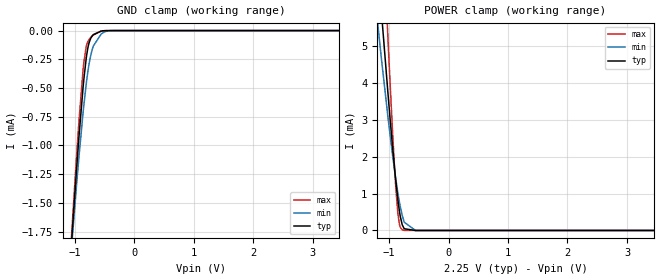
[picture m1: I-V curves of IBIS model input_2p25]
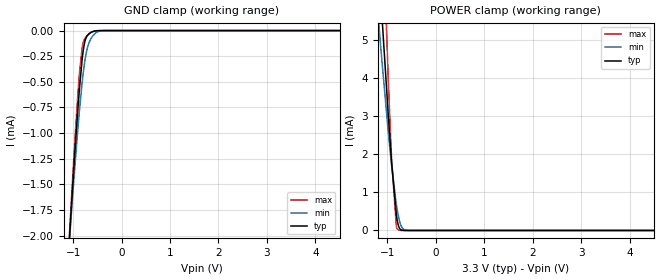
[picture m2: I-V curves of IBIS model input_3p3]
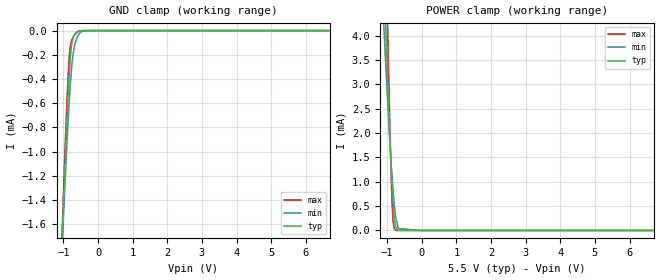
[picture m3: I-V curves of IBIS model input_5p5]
| Texas Instruments Incorporated
| SN74HCS86 Quadruple 2-Input XOR Gates with
| Schmitt-trigger Inputs
[IBIS Ver]   4.1
[File name]   sn74hcs86.ibs
[File Rev]   2.0
[Date]   04/24/2019
[Source]
| Texas Instruments Incorporated.
| Analog-eLab Design Center, HPA
| 12500 TI Blvd
| Dallas, TX -75243
[Notes]   Revision History:
| Rev 2.0: 04/24/2019
| - input_3p3 and output_3p3 models added
| Rev 1.0: 03/29/2019
| - Initial version of the model
| - Model generated from simulations in SPECTRE
| - C_comp although listed in numerical order of value are
|   obtained from varying PVT conditions. For PVT conditions for
|   each specific value refer the buffer description under
|   respective [Model]. IBIS model user is responsible for using
|   appropriate C_comp to simulate for Signal Integrity.
| - Warnings regarding combined Non-monotonicity of various models have been
|   reviewd and considered minor and can be ignored.
| - Model names with a trailing _2p25 contain the model for 2.25V operation.
|   Model names with a trailing _3p3 contain the model for 3.3V operation.
|   Model names with a trailing _5p5 contain the model for 5.5V operation.
[Disclaimer]
| This model is designed as an aid for customers of Texas Instruments.
| TI and its licensors and suppliers make no warranties, either expressed
| or implied, with respect to this  model, including the warranties of
| merchantability or fitness for a particular purpose. The model is
| provided solely on an "as is" basis. The entire risk as to its quality
| and performance is with the customer.
| This model is subject to change without notice. Texas Instruments
| Incorporated is not responsible for updating this model.
[Copyright]
 (C) Copyright 2019 Texas Instruments Incorporated.All rights reserved.
|  Component SN74HCS86BQA 14-Pin WQFN - BQA package
|  Part # SN74HCS86BQAR
[Component]   SN74HCS86BQA
[Manufacturer]   TI
[Package]   |14 SOIC - BQA package
|   typ   min   max
R_pkg   0.05   0.04   0.06
L_pkg   1.0nH   0.8nH   1.2nH
C_pkg   0.2pF   0.16pF   0.24pF
[Pin]   signal_name   model_name   R_pin   L_pin   C_pin
1   1A   input   NA   NA   NA
2   1B   input   NA   NA   NA
3   1Y   output   NA   NA   NA
4   2A   input   NA   NA   NA
5   2B   input   NA   NA   NA
6   2Y   output   NA   NA   NA
7   GND   gnd   NA   NA   NA
8   3Y   output   NA   NA   NA
9   3A   input   NA   NA   NA
10   3B   input   NA   NA   NA
11   4Y   output   NA   NA   NA
12   4A   input   NA   NA   NA
13   4B   input   NA   NA   NA
14   VCC   power   NA   NA   NA
|  Component SN74HCS86D 14-Pin SOIC - D package
|  Part # SN74HCS86DR
[Component]   SN74HCS86D
[Manufacturer]   TI
[Package]   |14 SOIC - D package
|   typ   min   max
R_pkg   0.05   0.04   0.06
L_pkg   1.0nH   0.8nH   1.2nH
C_pkg   0.2pF   0.16pF   0.24pF
[Pin]   signal_name   model_name   R_pin   L_pin   C_pin
1   1A   input   NA   NA   NA
2   1B   input   NA   NA   NA
3   1Y   output   NA   NA   NA
4   2A   input   NA   NA   NA
5   2B   input   NA   NA   NA
6   2Y   output   NA   NA   NA
7   GND   gnd   NA   NA   NA
8   3Y   output   NA   NA   NA
9   3A   input   NA   NA   NA
10   3B   input   NA   NA   NA
11   4Y   output   NA   NA   NA
12   4A   input   NA   NA   NA
13   4B   input   NA   NA   NA
14   VCC   power   NA   NA   NA
|  Component SN74HCS86PW 14-Pin TSSOP - PW package
|  Part # SN74HCS86PWR
[Component]   SN74HCS86PW
[Manufacturer]   TI
[Package]   |14 TSSOP - PW package
|   typ   min   max
R_pkg   0.05   0.04   0.06
L_pkg   1.0nH   0.8nH   1.2nH
C_pkg   0.2pF   0.16pF   0.24pF
[Pin]   signal_name   model_name   R_pin   L_pin   C_pin
1   1A   input   NA   NA   NA
2   1B   input   NA   NA   NA
3   1Y   output   NA   NA   NA
4   2A   input   NA   NA   NA
5   2B   input   NA   NA   NA
6   2Y   output   NA   NA   NA
7   GND   gnd   NA   NA   NA
8   3Y   output   NA   NA   NA
9   3A   input   NA   NA   NA
10   3B   input   NA   NA   NA
11   4Y   output   NA   NA   NA
12   4A   input   NA   NA   NA
13   4B   input   NA   NA   NA
14   VCC   power   NA   NA   NA
|   Model Selectors
[Model Selector] input
input_2p25   2.25V   digital input
input_3p3   3.3V   digital input
input_5p5   5.5V   digital input
[Model Selector] output
output_2p25   2.25V   digital output
output_3p3   3.3V   digital output
output_5p5   5.5V   digital output
| Models and submodels in the file (6): input_2p25 (Input), input_3p3 (Input), input_5p5 (Input), output_2p25 (Output), output_3p3 (Output), output_5p5 (Output)
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|   input_2p25 Model
[Model]   input_2p25
Model_type   Input
Vinl = 0.835
Vinh = 1.1
|   typ   min   max
C_comp   0.119pF   0.105pF   0.126pF
| Where Nom  PVT is Nominal Process, 2.25V, 27C
|   Fast PVT is Strong Process,  2.50V, -55C
|   Slow PVT is Weak Process,   2.0V, 150C
[Voltage Range]   2.25   2   2.5
|Junction Temperature
[Temperature Range]   27   150   -55
[Power Clamp Reference]   2.25   2   2.5
[GND Clamp Reference]   0   0   0
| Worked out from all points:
|   GND clamp passes 1 mA (typ) near -0.94 V on its own axis
|   POWER clamp passes 1 mA (typ) near -0.86 V on its own axis
[GND Clamp]
|   Voltage   I(typ)   I(min)   I(max)
-2.25V    -11.71mA   -10.48mA   -12.74mA
-1.109V   -2.268mA   -2.257mA   -2.25mA
-967.5mV  -1.202mA   -1.339mA   -1.088mA
-927mV    -920.7uA   -1.094mA   -783.1uA
-846mV    -425uA     -650.3uA   -278.1uA
-805.5mV  -239.4uA   -463.5uA   -138.6uA
-771.8mV  -134.7uA   -334.5uA   -88.4uA
-731.2mV  -67.91uA   -218.2uA   -59.95uA
-684mV    -34.91uA   -132.4uA   -37.48uA
-555.7mV  -4.734uA   -31.52uA   -3.97uA
-393.7mV  -80nA      -1.094uA   -16.84nA
4.5V      0A         0A         0A
[POWER Clamp]
|   Voltage   I(typ)   I(min)   I(max)
-2.25V    34.95mA    23.58mA    64.72mA
-1.386V   11.37mA    8.623mA    18.57mA
-1.143V   6.234mA    4.883mA    9.607mA
-1.123V   5.818mA    4.582mA    8.877mA
-1.015V   3.652mA    3.027mA    5.08mA
-940.5mV  2.258mA    2.037mA    2.657mA
-893.2mV  1.451mA    1.465mA    1.318mA
-852.8mV  850.3uA    1.028mA    472.1uA
-819mV    453.9uA    713.6uA    125uA
-778.5mV  153.7uA    408.4uA    17.82uA
-555.7mV  28.75nA    1.244uA    0A
4.5V      0A         0A         0A
|   input_3p3 Model
[Model]   input_3p3
Model_type   Input
Vinl = 1.6
Vinh = 2.3
|   typ   min   max
C_comp   0.1147pF   0.0972pF   0.1185pF
| Where Nom  PVT is Nominal Process, 3.3V, 27C
|   Fast PVT is Strong Process,  3.6V, -55C
|   Slow PVT is Weak Process,   3.0V, 150C
[Voltage Range]   3.3   3   3.6
|Junction Temperature
[Temperature Range]   27   150   -55
[Power Clamp Reference]   3.3   3   3.6
[GND Clamp Reference]   0   0   0
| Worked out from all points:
|   GND clamp passes 1 mA (typ) near -0.94 V on its own axis
|   POWER clamp passes 1 mA (typ) near -0.86 V on its own axis
[GND Clamp]
|   Voltage   I(typ)   I(min)   I(max)
-3.3V     -20.63mA   -18.3mA    -22.65mA
-1.132V   -2.445mA   -2.409mA   -2.444mA
-1.043V   -1.757mA   -1.817mA   -1.692mA
-963.6mV  -1.175mA   -1.315mA   -1.058mA
-894.3mV  -706.6uA   -906.4uA   -555.8uA
-874.5mV  -585.2uA   -797.8uA   -431.1uA
-815.1mV  -278uA     -505uA     -162.5uA
-775.5mV  -143.9uA   -347.5uA   -92.16uA
-726mV    -62.63uA   -206.2uA   -57.12uA
-607.2mV  -11.96uA   -59.92uA   -12.28uA
-379.5mV  -51.1nA    -764.7nA   -8.033nA
6.6V      0A         0A         0A
[POWER Clamp]
|   Voltage   I(typ)   I(min)   I(max)
-3.3V     78.77mA    53.53mA    141.7mA
-1.221V   7.859mA    6.061mA    12.45mA
-1.122V   5.802mA    4.57mA     8.85mA
-1.112V   5.6mA      4.424mA    8.495mA
-983.4mV  3.05mA     2.598mA    4.028mA
-914.1mV  1.796mA    1.71mA     1.877mA
-815.1mV  416uA      680.5uA    104.6uA
-765.6mV  100.2uA    329.9uA    9.392uA
-726mV    22.82uA    150.2uA    1.327uA
-686.4mV  4.733uA    56.24uA    192.9nA
-557.7mV  30.26nA    1.317uA    0A
6.6V      0A         0A         0A
|   input_5p5 Model
[Model]   input_5p5
Model_type   Input
Vinl = 2.45
Vinh = 3.0
|   typ   min   max
C_comp   0.107pF   0.087pF   0.107pF
| Where Nom  PVT is Nominal Process, 5.5V, 27C
|   Fast PVT is Strong Process,  6.0V, -55C
|   Slow PVT is Weak Process,   5.0V, 150C
[Voltage Range]   5.5   5   6
|Junction Temperature
[Temperature Range]   27   150   -55
[Power Clamp Reference]   5.5   5   6
[GND Clamp Reference]   0   0   0
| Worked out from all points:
|   GND clamp passes 1 mA (typ) near -0.94 V on its own axis
|   POWER clamp passes 1 mA (typ) near -0.86 V on its own axis
[GND Clamp]
|   Voltage   I(typ)   I(min)   I(max)
-2.5V     -13.83mA   -12.33mA   -15.1mA
-1.04V    -1.74mA    -1.802mA   -1.673mA
-1.03V    -1.661mA   -1.734mA   -1.587mA
-1.009V   -1.504mA   -1.599mA   -1.416mA
-904mV    -768.6uA   -961.1uA   -620.9uA
-830.5mV  -347.2uA   -575.3uA   -212.7uA
-778mV    -150.4uA   -356.3uA   -94.85uA
-715mV    -53.22uA   -183.3uA   -51.53uA
-578.5mV  -7.325uA   -42.74uA   -6.817uA
-431.5mV  -235nA     -2.752uA   -78nA
-22mV     0A         0A         0A
8V        0A         0A         0A
[POWER Clamp]
|   Voltage   I(typ)   I(min)   I(max)
-2.5V     44.53mA    30.06mA    82.85mA
-1.093V   5.211mA    4.144mA    7.813mA
-1.051V   4.366mA    3.537mA    6.331mA
-1.02V    3.745mA    3.093mA    5.242mA
-956.5mV  2.548mA    2.242mA    3.156mA
-893.5mV  1.455mA    1.468mA    1.324mA
-851.5mV  833.6uA    1.016mA    453uA
-820mV    463.9uA    722.1uA    130.7uA
-757mV    73.97uA    282.9uA    6.127uA
-673mV    2.776uA    39uA       100.5nA
-22mV     0A         0A         0A
8V        0A         0A         0A
